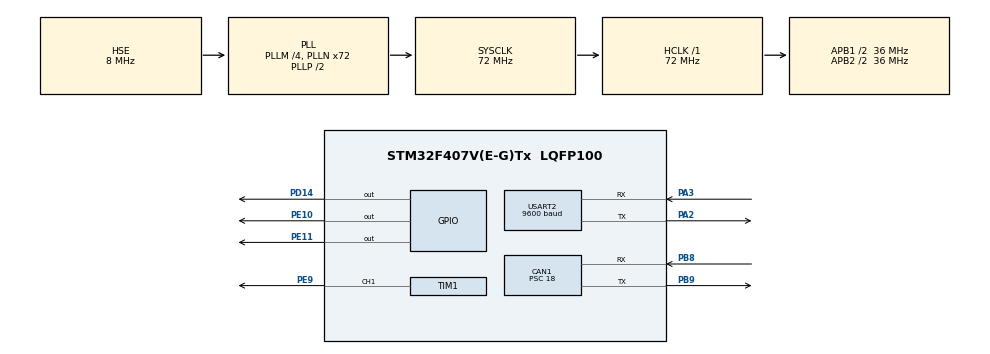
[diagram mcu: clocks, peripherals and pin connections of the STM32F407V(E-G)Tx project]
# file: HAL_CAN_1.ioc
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CAN1.BS1=CAN_BS1_2TQ
CAN1.CalculateBaudRate=500000
CAN1.CalculateTimeBit=2000
CAN1.CalculateTimeQuantum=500.0
CAN1.Prescaler=18
Mcu.Family=STM32F4
Mcu.Name=STM32F407V(E-G)Tx
Mcu.Package=LQFP100
NVIC.CAN1_RX0_IRQn=true\:0\:0\:false\:false\:true\:true\:true\:true
NVIC.PriorityGroup=NVIC_PRIORITYGROUP_0
PA2.Mode=Asynchronous
PA2.Signal=USART2_TX
PA3.Mode=Asynchronous
PA3.Signal=USART2_RX
PB8.Mode=CAN_Activate
PB8.Signal=CAN1_RX
PB9.Mode=CAN_Activate
PB9.Signal=CAN1_TX
PD14.Signal=GPIO_Output
PE10.Signal=GPIO_Output
PE11.Signal=GPIO_Output
PE9.Signal=S_TIM1_CH1
PH0-OSC_IN.Mode=HSE-External-Oscillator
PH0-OSC_IN.Signal=RCC_OSC_IN
PH1-OSC_OUT.Mode=HSE-External-Oscillator
PH1-OSC_OUT.Signal=RCC_OSC_OUT
ProjectManager.HeapSize=0x200
ProjectManager.StackSize=0x400
ProjectManager.TargetToolchain=STM32CubeIDE
RCC.48MHZClocksFreq_Value=20571428.57142857
RCC.AHBFreq_Value=72000000
RCC.APB1CLKDivider=RCC_HCLK_DIV2
RCC.APB1Freq_Value=36000000
RCC.APB1TimFreq_Value=72000000
RCC.APB2CLKDivider=RCC_HCLK_DIV2
RCC.APB2Freq_Value=36000000
RCC.APB2TimFreq_Value=72000000
RCC.CortexFreq_Value=72000000
RCC.HCLKFreq_Value=72000000
RCC.HSE_VALUE=8000000
RCC.HSI_VALUE=16000000
RCC.LSE_VALUE=32768
RCC.PLLM=4
RCC.PLLN=72
RCC.PLLQ=7
RCC.PLLSourceVirtual=RCC_PLLSOURCE_HSE
RCC.SYSCLKFreq_VALUE=72000000
RCC.SYSCLKSource=RCC_SYSCLKSOURCE_PLLCLK
RCC.VCOOutputFreq_Value=144000000
SH.S_TIM1_CH1.0=TIM1_CH1,PWM Generation1 CH1
TIM1.AutoReloadPreload=TIM_AUTORELOAD_PRELOAD_ENABLE
TIM1.Channel-PWM\ Generation1\ CH1=TIM_CHANNEL_1
TIM1.Period=100-1
TIM1.Prescaler=16-1
USART2.BaudRate=9600
USART2.VirtualMode=VM_ASYNC
board=STM32F407G-DISC1

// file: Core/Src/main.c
/* USER CODE BEGIN Header */
/**
  ******************************************************************************
  * @file           : main.c
  * @brief          : Main program body
  ******************************************************************************
  * @attention
  *
  * Copyright (c) 2024 STMicroelectronics.
  * All rights reserved.
  *
  * This software is licensed under terms that can be found in the LICENSE file
  * in the root directory of this software component.
  * If no LICENSE file comes with this software, it is provided AS-IS.
  *
  ******************************************************************************
  */
/* USER CODE END Header */
#include "main.h"

/* USER CODE BEGIN Includes */
#include<stdio.h>
#include<string.h>
/* USER CODE END Includes */

/* USER CODE BEGIN PD */
#define FORWARD 1
#define BACKWARD 0
#define MOTOR_MAX_SPEED 100
#define MIN_DIST 5
#define MAX_DIST 100
#define MIN_SPEED 50
#define MAX_SPEED 70
/* USER CODE END PD */

CAN_HandleTypeDef hcan1;

TIM_HandleTypeDef htim1;

UART_HandleTypeDef huart2;

void SystemClock_Config(void);
static void MX_GPIO_Init(void);
static void MX_CAN1_Init(void);
static void MX_TIM1_Init(void);
static void MX_USART2_UART_Init(void);
/* USER CODE BEGIN PFP */
void MotorStart(uint16_t direction);
void MotorStop(void);
void SetMotorSpeed(uint16_t distance);
/* USER CODE END PFP */

/* USER CODE BEGIN 0 */
CAN_RxHeaderTypeDef RxHeader;
uint8_t RxData[8];
uint8_t is_data_received;
uint16_t distance;
uint16_t speed;

void HAL_CAN_RxFifo0MsgPendingCallback(CAN_HandleTypeDef *hcan)
{
	if(HAL_CAN_GetRxMessage(hcan, CAN_RX_FIFO0, &RxHeader, RxData) == HAL_OK)
	{
		// process the message
        if (RxHeader.DLC == 2) {
        	is_data_received = 1;
        }
	}
}

void SetMotorSpeed(uint16_t distance)
{
	speed = MIN_SPEED + ((distance - MIN_DIST) * (MAX_SPEED - MIN_SPEED) / (MAX_DIST - MIN_DIST));
	//speed = ((distance - MIN_DIST)/(MAX_DIST - MIN_DIST)) * 100;
	if(speed > MOTOR_MAX_SPEED)
	    speed = MOTOR_MAX_SPEED;
	//uint16_t pulsewidth  = (htim1.Init.Period + 1) * speed / 100;
	//__HAL_TIM_SET_COMPARE(&htim1, TIM_CHANNEL_1, speed);
	htim1.Instance->CCR1 = 50;
	MotorStart(FORWARD);
	HAL_Delay(5000);
}

void MotorStart(uint16_t direction)
{
	if(direction == FORWARD)
	{
		HAL_GPIO_WritePin(GPIOE, GPIO_PIN_10, GPIO_PIN_SET);
		HAL_GPIO_WritePin(GPIOE, GPIO_PIN_11, GPIO_PIN_RESET);
	}
	else if(direction == BACKWARD)
	{
		HAL_GPIO_WritePin(GPIOE, GPIO_PIN_10, GPIO_PIN_RESET);
		HAL_GPIO_WritePin(GPIOE, GPIO_PIN_11, GPIO_PIN_SET);
	}
}

void MotorStop(void)
{
	HAL_GPIO_WritePin(GPIOE, GPIO_PIN_10, GPIO_PIN_RESET);
	HAL_GPIO_WritePin(GPIOE, GPIO_PIN_11, GPIO_PIN_RESET);
}

/* USER CODE END 0 */

int main(void)
{

  /* USER CODE BEGIN 1 */
	 char str[64];
	 char *str2 = "This is UART\r\n";
  /* USER CODE END 1 */

  /* MCU Configuration--------------------------------------------------------*/

  /* Reset of all peripherals, Initializes the Flash interface and the Systick. */
  HAL_Init();

  /* Configure the system clock */
  SystemClock_Config();

  /* Initialize all configured peripherals */
  MX_GPIO_Init();
  MX_CAN1_Init();
  MX_TIM1_Init();
  MX_USART2_UART_Init();
  /* USER CODE BEGIN 2 */
  HAL_CAN_Start(&hcan1);
  HAL_CAN_ActivateNotification(&hcan1, CAN_IT_RX_FIFO0_MSG_PENDING);
  HAL_TIM_PWM_Start(&htim1, TIM_CHANNEL_1);
  HAL_UART_Transmit(&huart2, (uint8_t *)str2, strlen(str2), HAL_MAX_DELAY);
  /* USER CODE END 2 */

  /* Infinite loop */
  while (1)
  {

    /* USER CODE BEGIN 3 */
	  HAL_GPIO_WritePin(GPIOE, GPIO_PIN_10, GPIO_PIN_SET);
	  HAL_GPIO_WritePin(GPIOE, GPIO_PIN_11, GPIO_PIN_RESET);
	 if(is_data_received == 1)
	 {
          HAL_GPIO_WritePin(GPIOD, GPIO_PIN_14, GPIO_PIN_SET);
          distance = (uint16_t)RxData[0] << 8 | (uint16_t)RxData[1];
          sprintf(str, "Distance : %d cm \r \n", distance);
      	  HAL_UART_Transmit(&huart2, (uint8_t *)str, strlen(str), HAL_MAX_DELAY);
          if(distance > 100)
          {
        	  distance = 100;
        	  SetMotorSpeed(distance);
          }
          else if(distance <= 100 && distance > 5)
          {
        	  distance = 70;
        	  SetMotorSpeed(distance);
          }
          else
          {
        	  MotorStop();
          }
          HAL_GPIO_WritePin(GPIOD, GPIO_PIN_14, GPIO_PIN_RESET);
          HAL_Delay(1000);
	 }
	 is_data_received = 0;
  }
  /* USER CODE END 3 */
}

void SystemClock_Config(void)
{
  RCC_OscInitTypeDef RCC_OscInitStruct = {0};
  RCC_ClkInitTypeDef RCC_ClkInitStruct = {0};

  /** Configure the main internal regulator output voltage
  */
  __HAL_RCC_PWR_CLK_ENABLE();
  __HAL_PWR_VOLTAGESCALING_CONFIG(PWR_REGULATOR_VOLTAGE_SCALE1);

  /** Initializes the RCC Oscillators according to the specified parameters
  * in the RCC_OscInitTypeDef structure.
  */
  RCC_OscInitStruct.OscillatorType = RCC_OSCILLATORTYPE_HSE;
  RCC_OscInitStruct.HSEState = RCC_HSE_ON;
  RCC_OscInitStruct.PLL.PLLState = RCC_PLL_ON;
  RCC_OscInitStruct.PLL.PLLSource = RCC_PLLSOURCE_HSE;
  RCC_OscInitStruct.PLL.PLLM = 4;
  RCC_OscInitStruct.PLL.PLLN = 72;
  RCC_OscInitStruct.PLL.PLLP = RCC_PLLP_DIV2;
  RCC_OscInitStruct.PLL.PLLQ = 7;
  if (HAL_RCC_OscConfig(&RCC_OscInitStruct) != HAL_OK)
  {
    Error_Handler();
  }

  /** Initializes the CPU, AHB and APB buses clocks
  */
  RCC_ClkInitStruct.ClockType = RCC_CLOCKTYPE_HCLK|RCC_CLOCKTYPE_SYSCLK
                              |RCC_CLOCKTYPE_PCLK1|RCC_CLOCKTYPE_PCLK2;
  RCC_ClkInitStruct.SYSCLKSource = RCC_SYSCLKSOURCE_PLLCLK;
  RCC_ClkInitStruct.AHBCLKDivider = RCC_SYSCLK_DIV1;
  RCC_ClkInitStruct.APB1CLKDivider = RCC_HCLK_DIV2;
  RCC_ClkInitStruct.APB2CLKDivider = RCC_HCLK_DIV2;

  if (HAL_RCC_ClockConfig(&RCC_ClkInitStruct, FLASH_LATENCY_2) != HAL_OK)
  {
    Error_Handler();
  }
}

static void MX_CAN1_Init(void)
{

  hcan1.Instance = CAN1;
  hcan1.Init.Prescaler = 18;
  hcan1.Init.Mode = CAN_MODE_NORMAL;
  hcan1.Init.SyncJumpWidth = CAN_SJW_1TQ;
  hcan1.Init.TimeSeg1 = CAN_BS1_2TQ;
  hcan1.Init.TimeSeg2 = CAN_BS2_1TQ;
  hcan1.Init.TimeTriggeredMode = DISABLE;
  hcan1.Init.AutoBusOff = DISABLE;
  hcan1.Init.AutoWakeUp = DISABLE;
  hcan1.Init.AutoRetransmission = DISABLE;
  hcan1.Init.ReceiveFifoLocked = DISABLE;
  hcan1.Init.TransmitFifoPriority = DISABLE;
  if (HAL_CAN_Init(&hcan1) != HAL_OK)
  {
    Error_Handler();
  }
  /* USER CODE BEGIN CAN1_Init 2 */
  CAN_FilterTypeDef FilterConfig;
  //FilterConfig.SlaveStartFilterBank = 9; // CAN1-0 to 8, CAN2-9 to 27
  FilterConfig.FilterActivation = CAN_FILTER_ENABLE;
  FilterConfig.FilterBank = 0; // Use any Filter from 0 to 8
  FilterConfig.FilterScale = CAN_FILTERSCALE_32BIT; // Use a 32-bit filter
  FilterConfig.FilterMode = CAN_FILTERMODE_IDMASK;
  FilterConfig.FilterMaskIdHigh = 0xFF00;
  FilterConfig.FilterMaskIdLow = 0x0000;
  FilterConfig.FilterIdHigh = 0x1500;
  FilterConfig.FilterIdLow = 0x0000;
  FilterConfig.FilterFIFOAssignment = CAN_RX_FIFO0;

  if(HAL_CAN_ConfigFilter(&hcan1, &FilterConfig) != HAL_OK)
	  Error_Handler();
  /* USER CODE END CAN1_Init 2 */

}

static void MX_TIM1_Init(void)
{

  TIM_MasterConfigTypeDef sMasterConfig = {0};
  TIM_OC_InitTypeDef sConfigOC = {0};
  TIM_BreakDeadTimeConfigTypeDef sBreakDeadTimeConfig = {0};

  htim1.Instance = TIM1;
  htim1.Init.Prescaler = 16-1;
  htim1.Init.CounterMode = TIM_COUNTERMODE_UP;
  htim1.Init.Period = 100-1;
  htim1.Init.ClockDivision = TIM_CLOCKDIVISION_DIV1;
  htim1.Init.RepetitionCounter = 0;
  htim1.Init.AutoReloadPreload = TIM_AUTORELOAD_PRELOAD_ENABLE;
  if (HAL_TIM_PWM_Init(&htim1) != HAL_OK)
  {
    Error_Handler();
  }
  sMasterConfig.MasterOutputTrigger = TIM_TRGO_RESET;
  sMasterConfig.MasterSlaveMode = TIM_MASTERSLAVEMODE_DISABLE;
  if (HAL_TIMEx_MasterConfigSynchronization(&htim1, &sMasterConfig) != HAL_OK)
  {
    Error_Handler();
  }
  sConfigOC.OCMode = TIM_OCMODE_PWM1;
  sConfigOC.Pulse = 0;
  sConfigOC.OCPolarity = TIM_OCPOLARITY_HIGH;
  sConfigOC.OCNPolarity = TIM_OCNPOLARITY_HIGH;
  sConfigOC.OCFastMode = TIM_OCFAST_DISABLE;
  sConfigOC.OCIdleState = TIM_OCIDLESTATE_RESET;
  sConfigOC.OCNIdleState = TIM_OCNIDLESTATE_RESET;
  if (HAL_TIM_PWM_ConfigChannel(&htim1, &sConfigOC, TIM_CHANNEL_1) != HAL_OK)
  {
    Error_Handler();
  }
  sBreakDeadTimeConfig.OffStateRunMode = TIM_OSSR_DISABLE;
  sBreakDeadTimeConfig.OffStateIDLEMode = TIM_OSSI_DISABLE;
  sBreakDeadTimeConfig.LockLevel = TIM_LOCKLEVEL_OFF;
  sBreakDeadTimeConfig.DeadTime = 0;
  sBreakDeadTimeConfig.BreakState = TIM_BREAK_DISABLE;
  sBreakDeadTimeConfig.BreakPolarity = TIM_BREAKPOLARITY_HIGH;
  sBreakDeadTimeConfig.AutomaticOutput = TIM_AUTOMATICOUTPUT_DISABLE;
  if (HAL_TIMEx_ConfigBreakDeadTime(&htim1, &sBreakDeadTimeConfig) != HAL_OK)
  {
    Error_Handler();
  }
  HAL_TIM_MspPostInit(&htim1);

}

static void MX_USART2_UART_Init(void)
{

  huart2.Instance = USART2;
  huart2.Init.BaudRate = 9600;
  huart2.Init.WordLength = UART_WORDLENGTH_8B;
  huart2.Init.StopBits = UART_STOPBITS_1;
  huart2.Init.Parity = UART_PARITY_NONE;
  huart2.Init.Mode = UART_MODE_TX_RX;
  huart2.Init.HwFlowCtl = UART_HWCONTROL_NONE;
  huart2.Init.OverSampling = UART_OVERSAMPLING_16;
  if (HAL_UART_Init(&huart2) != HAL_OK)
  {
    Error_Handler();
  }

}

static void MX_GPIO_Init(void)
{
  GPIO_InitTypeDef GPIO_InitStruct = {0};

  /* GPIO Ports Clock Enable */
  __HAL_RCC_GPIOH_CLK_ENABLE();
  __HAL_RCC_GPIOA_CLK_ENABLE();
  __HAL_RCC_GPIOE_CLK_ENABLE();
  __HAL_RCC_GPIOD_CLK_ENABLE();
  __HAL_RCC_GPIOB_CLK_ENABLE();

  /*Configure GPIO pin Output Level */
  HAL_GPIO_WritePin(GPIOE, GPIO_PIN_10|GPIO_PIN_11, GPIO_PIN_RESET);

  /*Configure GPIO pin Output Level */
  HAL_GPIO_WritePin(GPIOD, GPIO_PIN_14, GPIO_PIN_RESET);

  /*Configure GPIO pins : PE10 PE11 */
  GPIO_InitStruct.Pin = GPIO_PIN_10|GPIO_PIN_11;
  GPIO_InitStruct.Mode = GPIO_MODE_OUTPUT_PP;
  GPIO_InitStruct.Pull = GPIO_NOPULL;
  GPIO_InitStruct.Speed = GPIO_SPEED_FREQ_LOW;
  HAL_GPIO_Init(GPIOE, &GPIO_InitStruct);

  /*Configure GPIO pin : PD14 */
  GPIO_InitStruct.Pin = GPIO_PIN_14;
  GPIO_InitStruct.Mode = GPIO_MODE_OUTPUT_PP;
  GPIO_InitStruct.Pull = GPIO_NOPULL;
  GPIO_InitStruct.Speed = GPIO_SPEED_FREQ_LOW;
  HAL_GPIO_Init(GPIOD, &GPIO_InitStruct);

}

void Error_Handler(void)
{
  __disable_irq();
  while (1)
  {
  }
}
